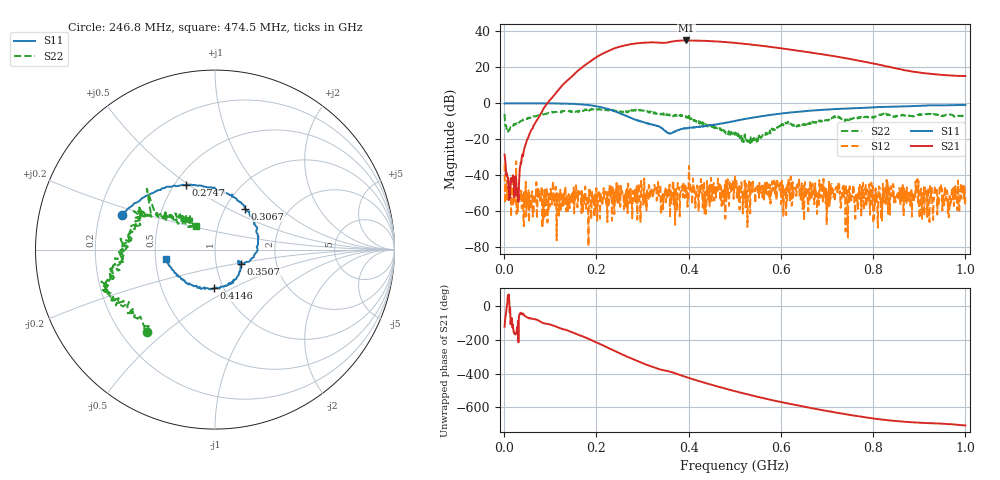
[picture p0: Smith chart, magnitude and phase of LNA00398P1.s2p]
! Created with skrf 1.9.0 (http://scikit-rf.org).
# Hz S RI R 50.0
!freq ReS11 ImS11 ReS21 ImS21 ReS12 ImS12 ReS22 ImS22
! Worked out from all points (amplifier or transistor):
!   1001 points, 1 MHz to 1 GHz, reference 50 ohm
!   highest |S21| = 35.0 dB at 394.6 MHz (marker M1)
!   |S21| within 3 dB of that: 257.7 MHz to 559.6 MHz (301.9 MHz wide, 73.9 % of centre)
!   unconditionally stable (mu >= 1): 234.9 MHz to 297.3 MHz; 303.9 MHz to 400.2 MHz; 401.3 MHz to end of sweep (the widest 3 of 45)
!   at 166.8 MHz: K = 1.72, MAG = 32.1 dB, |S12| = -54.5 dB
!   at 500.5 MHz: K = 1.24, MAG = 34.2 dB, |S12| = -40.7 dB
!   at 1 GHz: K = 5.71, MAG = 23.3 dB, |S12| = -52.4 dB
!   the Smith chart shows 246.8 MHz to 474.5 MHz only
!   S11 on the Smith chart (normalised r, x): 246.8 MHz: 0.29, +0.17; 274.7 MHz: 0.57, +0.48; 306.7 MHz: 1.23, +0.61; 350.6 MHz: 1.32, -0.21; 414.6 MHz: 0.91, -0.41; 474.5 MHz: 0.57, -0.07
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1000000  0.9829 -0.00328  -0.0205 -0.0314  -0.0175 0.0104  0.37 0.3482
1.08892e8  0.5301 -0.8422  -0.8205 -1.504  0.00266 -0.000505  0.4128 -0.378
1.67833e8  -0.2173 -0.9085  -9.839 -0.4433  0.00057 0.000674  0.0153 -0.6275
2.11789e8  -0.6783 -0.3657  -15.08 17.99  0.00117 -0.00217  -0.2195 -0.628
2.46754e8  -0.5206 0.1946  3.198 36.37  -0.00171 0.000252  -0.3804 -0.4567
2.74726e8  -0.1636 0.3589  28.07 34.17  -0.0021 -0.0014  -0.5363 -0.2713
3.06694e8  0.1661 0.2283  47.4 12.15  -0.00043 -0.00147  -0.5695 -0.1645
3.34666e8  0.2295 -0.0167  47.75 -10.59  -0.000468 0.00263  -0.517 -0.0249
3.5065e8  0.1462 -0.0775  44.77 -18.74  -5.88e-05 0.00177  -0.4651 0.0627
3.7063e8  0.139 -0.0849  42.85 -33.15  0.000397 0.000135  -0.4144 0.1811
3.94606e8  0.0944 -0.1817  27.79 -48.82  0.000356 0.00347  -0.3987 0.1845
4.14586e8  -0.00395 -0.2143  12.01 -54.43  0.000801 0.000956  -0.2739 0.1646
4.43557e8  -0.1584 -0.1875  -10.19 -52.99  -0.00199 0.00417  -0.1533 0.1587
4.74526e8  -0.2745 -0.0531  -29.44 -41.93  0.00375 0.00173  -0.1075 0.1299
5.005e8  -0.3047 0.1001  -39.05 -28.52  0.00582 -0.0072  -0.119 0.0622
5.39461e8  -0.2518 0.3154  -42.06 -7.248  0.00662 0.000206  -0.101 -0.0187
5.85415e8  -0.0663 0.4897  -34.19 11.88  0.00536 -0.00465  -0.1736 -0.0779
6.25375e8  0.1251 0.5504  -22.69 20.3  -0.000508 -0.00644  -0.2147 -0.1053
6.67333e8  0.3298 0.5367  -11.05 22.92  -0.00183 -0.00304  -0.2888 -0.0223
7.49251e8  0.6155 0.3783  3.985 16.72  0.00397 -0.00302  -0.3404 0.0732
8.34166e8  0.789 0.1429  7.45 7.241  -0.0033 0.0037  -0.4456 0.1741
1e9  0.8113 -0.4005  5.589 1.393  -0.0018 -0.00158  -0.1002 0.4214
